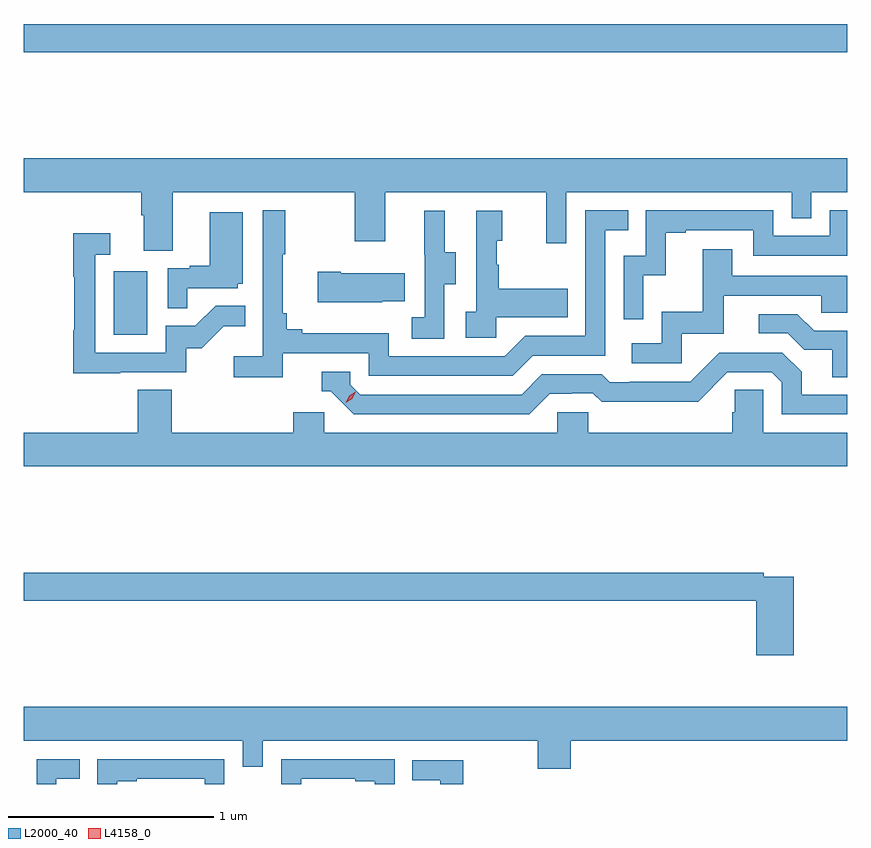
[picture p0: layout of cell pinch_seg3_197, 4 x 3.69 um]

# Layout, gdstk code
import gdstk
lib = gdstk.Library(unit=1e-6, precision=1e-09)
def R(c, l, rs):  # rectangles x0, y0, x1, y1
    for r in rs: c.add(gdstk.rectangle(r[:2], r[2:], *l))
def P(c, l, *ps):  # polygons
    for p in ps: c.add(gdstk.Polygon(p, *l))
L2000_40 = (2000, 40)
L4158_0 = (4158, 0)

pinch_seg3_197 = lib.new_cell('pinch_seg3_197')
R(pinch_seg3_197, L2000_40, [(971.402,746.844,971.566,747.151), (970.965,748.216,974.965,748.352)])
P(pinch_seg3_197, L2000_40, [(971.689,747.536),(972.574,747.536),(972.574,747.297),(972.721,747.297),(972.721,747.536),(973.502,747.536),(973.502,747.288),(973.599,747.288),(973.599,747.536),(974.694,747.536),(974.694,747.409),(974.79,747.409),(974.79,747.536),(974.965,747.536),(974.965,747.7),(970.965,747.7),(970.965,747.536),(971.537,747.536),(971.537,747.424),(971.549,747.424),(971.549,747.25),(971.689,747.25)],
  [(972.224,746.754),(972.642,746.754),(972.642,746.643),(973.339,746.643),(973.438,746.742),(973.788,746.742),(973.788,747.351),(973.901,747.351),(973.901,747.447),(973.692,747.447),(973.692,746.838),(973.401,746.838),(973.302,746.739),(972.738,746.739),(972.738,746.851),(972.319,746.851),(972.319,746.87),(972.242,746.87),(972.242,746.947),(972.223,746.947),(972.223,747.235),(972.235,747.235),(972.235,747.448),(972.126,747.448),(972.126,746.74),(971.985,746.74),(971.985,746.638),(972.224,746.638)],
  [(973.974,747.131),(974.084,747.131),(974.084,747.339),(974.179,747.339),(974.179,747.351),(974.508,747.351),(974.508,747.228),(974.965,747.228),(974.965,747.447),(974.88,747.447),(974.88,747.324),(974.604,747.324),(974.604,747.447),(973.986,747.447),(973.986,747.228),(973.878,747.228),(973.878,746.919),(973.974,746.919)],
  [(973.008,747.088),(973.063,747.088),(973.063,747.243),(973.009,747.243),(973.009,747.445),(972.911,747.445),(972.911,747.231),(972.912,747.231),(972.912,746.927),(972.849,746.927),(972.849,746.824),(973.008,746.824)],
  [(973.26,746.927),(973.607,746.927),(973.607,747.067),(973.273,747.067),(973.273,747.182),(973.263,747.182),(973.263,747.3),(973.288,747.3),(973.288,747.445),(973.164,747.445),(973.164,746.954),(973.113,746.954),(973.113,746.829),(973.26,746.829)],
  [(971.759,747.069),(972.006,747.069),(972.006,747.09),(972.028,747.09),(972.028,747.439),(971.87,747.439),(971.87,747.178),(971.771,747.178),(971.771,747.165),(971.664,747.165),(971.664,746.971),(971.759,746.971)],
  [(971.435,746.661),(971.754,746.661),(971.754,746.778),(971.83,746.778),(971.937,746.885),(972.041,746.885),(972.041,746.984),(971.897,746.984),(971.799,746.886),(971.655,746.886),(971.655,746.757),(971.313,746.757),(971.313,747.231),(971.386,747.231),(971.386,747.337),(971.205,747.337),(971.205,747.124),(971.212,747.124),(971.212,746.864),(971.205,746.864),(971.205,746.656),(971.435,746.656)],
  [(974.16,746.847),(974.365,746.847),(974.365,747.033),(974.839,747.033),(974.839,746.949),(974.965,746.949),(974.965,747.129),(974.407,747.129),(974.407,747.259),(974.263,747.259),(974.263,746.956),(974.064,746.956),(974.064,746.802),(973.917,746.802),(973.917,746.706),(974.16,746.706)],
  [(972.707,747.005),(972.815,747.005),(972.815,747.142),(972.505,747.142),(972.505,747.15),(972.393,747.15),(972.393,747.002),(972.707,747.002)],
  [(974.965,746.862),(974.803,746.862),(974.722,746.943),(974.535,746.943),(974.535,746.85),(974.676,746.85),(974.756,746.77),(974.891,746.77),(974.891,746.638),(974.965,746.638)],
  [(973.519,746.556),(973.626,746.556),(973.626,746.559),(973.729,746.559),(973.771,746.517),(974.004,746.517),(974.004,746.519),(974.24,746.519),(974.382,746.661),(974.598,746.661),(974.646,746.613),(974.646,746.457),(974.965,746.457),(974.965,746.553),(974.743,746.553),(974.743,746.663),(974.649,746.757),(974.343,746.757),(974.202,746.616),(973.909,746.616),(973.909,746.613),(973.81,746.613),(973.771,746.652),(973.482,746.652),(973.383,746.553),(972.6,746.553),(972.552,746.601),(972.552,746.664),(972.413,746.664),(972.413,746.568),(972.456,746.568),(972.567,746.457),(973.42,746.457)],
  [(974.965,746.368),(974.556,746.368),(974.556,746.576),(974.419,746.576),(974.419,746.466),(974.405,746.466),(974.405,746.368),(973.707,746.368),(973.707,746.466),(973.557,746.466),(973.557,746.368),(972.426,746.368),(972.426,746.466),(972.275,746.466),(972.275,746.368),(971.684,746.368),(971.684,746.576),(971.519,746.576),(971.519,746.368),(970.965,746.368),(970.965,746.204),(974.965,746.204)],
  [(974.705,745.668),(974.558,745.668),(974.558,745.688),(970.965,745.688),(970.965,745.552),(974.522,745.552),(974.522,745.287),(974.705,745.287)],
  [(973.622,744.872),(974.965,744.872),(974.965,745.036),(970.965,745.036),(970.965,744.872),(972.03,744.872),(972.03,744.745),(972.126,744.745),(972.126,744.872),(973.462,744.872),(973.462,744.737),(973.622,744.737)],
  [(971.42,744.675),(971.515,744.675),(971.515,744.687),(971.844,744.687),(971.844,744.662),(971.94,744.662),(971.94,744.783),(971.322,744.783),(971.322,744.662),(971.42,744.662)],
  [(972.312,744.687),(972.575,744.687),(972.575,744.675),(972.671,744.675),(972.671,744.662),(972.768,744.662),(972.768,744.783),(972.216,744.783),(972.216,744.662),(972.312,744.662)],
  [(971.124,744.687),(971.237,744.687),(971.237,744.783),(971.028,744.783),(971.028,744.662),(971.124,744.662)],
  [(973.099,744.777),(972.853,744.777),(972.853,744.68),(972.988,744.68),(972.988,744.662),(973.099,744.662)])
P(pinch_seg3_197, L4158_0, [(972.53,746.513),(972.53,746.514),(972.546,746.546),(972.577,746.566),(972.578,746.566),(972.578,746.566),(972.561,746.533),(972.53,746.513)])

lib.write_gds('pinch_seg3_197.gds')
